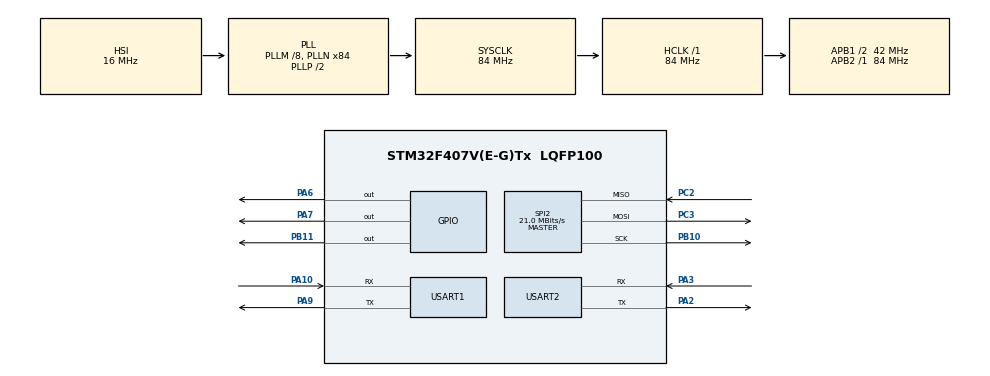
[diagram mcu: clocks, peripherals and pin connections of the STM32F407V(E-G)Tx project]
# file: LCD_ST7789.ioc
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Dma.Request0=SPI2_TX
Dma.SPI2_TX.0.Direction=DMA_MEMORY_TO_PERIPH
Dma.SPI2_TX.0.FIFOMode=DMA_FIFOMODE_DISABLE
Dma.SPI2_TX.0.Instance=DMA1_Stream4
Dma.SPI2_TX.0.MemDataAlignment=DMA_MDATAALIGN_BYTE
Dma.SPI2_TX.0.MemInc=DMA_MINC_ENABLE
Dma.SPI2_TX.0.Mode=DMA_NORMAL
Dma.SPI2_TX.0.PeriphDataAlignment=DMA_PDATAALIGN_BYTE
Dma.SPI2_TX.0.PeriphInc=DMA_PINC_DISABLE
Dma.SPI2_TX.0.Priority=DMA_PRIORITY_LOW
FREERTOS.Tasks01=blinkLEDTask,0,128,StartBlinkTask,Default,NULL,Dynamic,NULL,NULL;lvglTask,0,1024,StartLVGLTask,Default,NULL,Dynamic,NULL,NULL
Mcu.Family=STM32F4
Mcu.Name=STM32F407V(E-G)Tx
Mcu.Package=LQFP100
NVIC.DMA1_Stream4_IRQn=true\:5\:0\:false\:false\:true\:true\:false\:true
NVIC.PriorityGroup=NVIC_PRIORITYGROUP_4
NVIC.TIM7_IRQn=true\:0\:0\:false\:false\:true\:false\:false\:true
NVIC.TimeBase=TIM7_IRQn
NVIC.TimeBaseIP=TIM7
PA10.Mode=Asynchronous
PA10.Signal=USART1_RX
PA13.Mode=Serial_Wire
PA13.Signal=SYS_JTMS-SWDIO
PA14.Mode=Serial_Wire
PA14.Signal=SYS_JTCK-SWCLK
PA2.Mode=Asynchronous
PA2.Signal=USART2_TX
PA3.Mode=Asynchronous
PA3.Signal=USART2_RX
PA6.Signal=GPIO_Output
PA7.Signal=GPIO_Output
PA9.Mode=Asynchronous
PA9.Signal=USART1_TX
PB10.Mode=Full_Duplex_Master
PB10.Signal=SPI2_SCK
PB11.Signal=GPIO_Output
PC14-OSC32_IN.Mode=LSE-External-Oscillator
PC14-OSC32_IN.Signal=RCC_OSC32_IN
PC15-OSC32_OUT.Mode=LSE-External-Oscillator
PC15-OSC32_OUT.Signal=RCC_OSC32_OUT
PC2.Mode=Full_Duplex_Master
PC2.Signal=SPI2_MISO
PC3.Mode=Full_Duplex_Master
PC3.Signal=SPI2_MOSI
PH0-OSC_IN.Mode=HSE-External-Oscillator
PH0-OSC_IN.Signal=RCC_OSC_IN
PH1-OSC_OUT.Mode=HSE-External-Oscillator
PH1-OSC_OUT.Signal=RCC_OSC_OUT
ProjectManager.HeapSize=0x200
ProjectManager.StackSize=0x400
ProjectManager.TargetToolchain=STM32CubeIDE
RCC.48MHZClocksFreq_Value=42000000
RCC.AHBFreq_Value=84000000
RCC.APB1CLKDivider=RCC_HCLK_DIV2
RCC.APB1Freq_Value=42000000
RCC.APB1TimFreq_Value=84000000
RCC.APB2Freq_Value=84000000
RCC.APB2TimFreq_Value=84000000
RCC.CortexFreq_Value=84000000
RCC.HCLKFreq_Value=84000000
RCC.HSE_VALUE=25000000
RCC.HSI_VALUE=16000000
RCC.PLLM=8
RCC.PLLN=84
RCC.RCC_RTC_Clock_Source=RCC_RTCCLKSOURCE_LSE
RCC.RCC_RTC_Clock_SourceVirtual=RCC_RTCCLKSOURCE_LSE
RCC.SYSCLKFreq_VALUE=84000000
RCC.SYSCLKSource=RCC_SYSCLKSOURCE_PLLCLK
RCC.VCOOutputFreq_Value=168000000
SPI2.BaudRatePrescaler=SPI_BAUDRATEPRESCALER_2
SPI2.CLKPhase=SPI_PHASE_2EDGE
SPI2.CLKPolarity=SPI_POLARITY_HIGH
SPI2.CalculateBaudRate=21.0 MBits/s
SPI2.Direction=SPI_DIRECTION_2LINES
SPI2.Mode=SPI_MODE_MASTER
SPI2.VirtualType=VM_MASTER
USART1.VirtualMode=VM_ASYNC
USART2.VirtualMode=VM_ASYNC
VP_FREERTOS_VS_CMSIS_V1.Mode=CMSIS_V1
VP_RTC_VS_RTC_Activate.Mode=RTC_Enabled
VP_SYS_VS_tim7.Mode=TIM7
board=custom

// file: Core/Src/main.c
/* USER CODE BEGIN Header */
/**
  ******************************************************************************
  * @file           : main.c
  * @brief          : Main program body
  ******************************************************************************
  * @attention
  *
  * <h2><center>&copy; Copyright (c) 2025 STMicroelectronics.
  * All rights reserved.</center></h2>
  *
  * This software component is licensed by ST under BSD 3-Clause license,
  * the "License"; You may not use this file except in compliance with the
  * License. You may obtain a copy of the License at:
  *                        opensource.org/licenses/BSD-3-Clause
  *
  ******************************************************************************
  */
/* USER CODE END Header */
#include "main.h"
#include "cmsis_os.h"

/* USER CODE BEGIN Includes */

#include "stdio.h"
#include "stdlib.h"  // Thêm cho malloc/free

// Include LVGL examples
#include "examples/lv_examples.h"
#include "home_display.h"
#include "log.h"
#include "wifi_esp8266.h"  // Re-enabled for WiFi testing

// Function prototypes - Khai báo hàm
void wifi_test_demo(void);  // Re-enabled for WiFi testing
void log_test_only(void);
/* USER CODE END Includes */

RTC_HandleTypeDef hrtc;

SPI_HandleTypeDef hspi2;
DMA_HandleTypeDef hdma_spi2_tx;

UART_HandleTypeDef huart1;
UART_HandleTypeDef huart2;

osThreadId blinkLEDTaskHandle;
osThreadId lvglTaskHandle;

void SystemClock_Config(void);
static void MX_GPIO_Init(void);
static void MX_DMA_Init(void);
static void MX_SPI2_Init(void);
static void MX_RTC_Init(void);
static void MX_USART1_UART_Init(void);
static void MX_USART2_UART_Init(void);
void StartBlinkTask(void const * argument);
void StartLVGLTask(void const * argument);

/* USER CODE BEGIN 0 */

// LVGL display buffer - DOUBLE BUFFERING implementation
static lv_disp_draw_buf_t draw_buf;
static lv_color_t buf1[240 * 60];  // Buffer 1 = 19.2KB RAM
static lv_color_t buf2[240 * 60];  // Buffer 2 = 19.2KB RAM (Total: 38.4KB)

// Counter để đếm số lần flush được g�?i
static uint32_t flush_count = 0;
static uint8_t current_buffer = 1;  // Track buffer hiện tại (1 hoặc 2)

// DMA transfer completed flag
static volatile uint8_t dma_transfer_complete = 1;

// DMA TX Complete Callback
void HAL_SPI_TxCpltCallback(SPI_HandleTypeDef *hspi)
{
    if(hspi->Instance == SPI2) {
        dma_transfer_complete = 1;
    }
}

// LVGL flush callback function - CONDITIONAL DMA/BLOCKING
void my_disp_flush(lv_disp_drv_t * disp_drv, const lv_area_t * area, lv_color_t * color_p)
{
    // Tính toán kích thước area
    int32_t width = area->x2 - area->x1 + 1;
    int32_t height = area->y2 - area->y1 + 1;

    // Cast LVGL color buffer v�? uint16_t cho ST7789
    uint16_t * pixel_data = (uint16_t *)color_p;
#if DMA_MODULE_USED
    // Wait for previous DMA transfer to complete
    while(!dma_transfer_complete) {
        osDelay(1);
    }

    // Start DMA transfer - NON-BLOCKING
    dma_transfer_complete = 0;
#endif
    ST7789_DrawImage(area->x1, area->y1, width, height, pixel_data);

    // Báo cho LVGL biết đã flush xong
    lv_disp_flush_ready(disp_drv);
}
/* USER CODE END 0 */

int main(void)
{

  /* MCU Configuration--------------------------------------------------------*/

  /* Reset of all peripherals, Initializes the Flash interface and the Systick. */
  HAL_Init();

  /* Configure the system clock */
  SystemClock_Config();

  /* Initialize all configured peripherals */
  MX_GPIO_Init();
  MX_DMA_Init();
  MX_SPI2_Init();
  MX_RTC_Init();
  MX_USART1_UART_Init();
  MX_USART2_UART_Init();
  /* USER CODE BEGIN 2 */
  log_init();

  // Simple log test without WiFi
  log_test_only();

  wifi_test_demo(); // Re-enabled for WiFi testing
	// ST7789 display initialization procedure
	ST7789_Init();
	// Setting the display rotation
	ST7789_rotation( 1 );
  /* USER CODE END 2 */

  /* Create the thread(s) */
  /* definition and creation of blinkLEDTask */
  osThreadDef(blinkLEDTask, StartBlinkTask, osPriorityNormal, 0, 128);
  blinkLEDTaskHandle = osThreadCreate(osThread(blinkLEDTask), NULL);

  /* definition and creation of lvglTask */
  osThreadDef(lvglTask, StartLVGLTask, osPriorityNormal, 0, 1024);
  lvglTaskHandle = osThreadCreate(osThread(lvglTask), NULL);

  /* Start scheduler */
  osKernelStart();

  /* We should never get here as control is now taken by the scheduler */
  /* Infinite loop */
  while (1)
  {

  }
}

void SystemClock_Config(void)
{
  RCC_OscInitTypeDef RCC_OscInitStruct = {0};
  RCC_ClkInitTypeDef RCC_ClkInitStruct = {0};
  RCC_PeriphCLKInitTypeDef PeriphClkInitStruct = {0};

  /** Configure the main internal regulator output voltage
  */
  __HAL_RCC_PWR_CLK_ENABLE();
  __HAL_PWR_VOLTAGESCALING_CONFIG(PWR_REGULATOR_VOLTAGE_SCALE1);
  /** Initializes the RCC Oscillators according to the specified parameters
  * in the RCC_OscInitTypeDef structure.
  */
  RCC_OscInitStruct.OscillatorType = RCC_OSCILLATORTYPE_HSI|RCC_OSCILLATORTYPE_LSE;
  RCC_OscInitStruct.LSEState = RCC_LSE_ON;
  RCC_OscInitStruct.HSIState = RCC_HSI_ON;
  RCC_OscInitStruct.HSICalibrationValue = RCC_HSICALIBRATION_DEFAULT;
  RCC_OscInitStruct.PLL.PLLState = RCC_PLL_ON;
  RCC_OscInitStruct.PLL.PLLSource = RCC_PLLSOURCE_HSI;
  RCC_OscInitStruct.PLL.PLLM = 8;
  RCC_OscInitStruct.PLL.PLLN = 84;
  RCC_OscInitStruct.PLL.PLLP = RCC_PLLP_DIV2;
  RCC_OscInitStruct.PLL.PLLQ = 4;
  if (HAL_RCC_OscConfig(&RCC_OscInitStruct) != HAL_OK)
  {
    Error_Handler();
  }
  /** Initializes the CPU, AHB and APB buses clocks
  */
  RCC_ClkInitStruct.ClockType = RCC_CLOCKTYPE_HCLK|RCC_CLOCKTYPE_SYSCLK
                              |RCC_CLOCKTYPE_PCLK1|RCC_CLOCKTYPE_PCLK2;
  RCC_ClkInitStruct.SYSCLKSource = RCC_SYSCLKSOURCE_PLLCLK;
  RCC_ClkInitStruct.AHBCLKDivider = RCC_SYSCLK_DIV1;
  RCC_ClkInitStruct.APB1CLKDivider = RCC_HCLK_DIV2;
  RCC_ClkInitStruct.APB2CLKDivider = RCC_HCLK_DIV1;

  if (HAL_RCC_ClockConfig(&RCC_ClkInitStruct, FLASH_LATENCY_2) != HAL_OK)
  {
    Error_Handler();
  }
  PeriphClkInitStruct.PeriphClockSelection = RCC_PERIPHCLK_RTC;
  PeriphClkInitStruct.RTCClockSelection = RCC_RTCCLKSOURCE_LSE;
  if (HAL_RCCEx_PeriphCLKConfig(&PeriphClkInitStruct) != HAL_OK)
  {
    Error_Handler();
  }
}

static void MX_RTC_Init(void)
{

  /** Initialize RTC Only
  */
  hrtc.Instance = RTC;
  hrtc.Init.HourFormat = RTC_HOURFORMAT_24;
  hrtc.Init.AsynchPrediv = 127;
  hrtc.Init.SynchPrediv = 255;
  hrtc.Init.OutPut = RTC_OUTPUT_DISABLE;
  hrtc.Init.OutPutPolarity = RTC_OUTPUT_POLARITY_HIGH;
  hrtc.Init.OutPutType = RTC_OUTPUT_TYPE_OPENDRAIN;
  if (HAL_RTC_Init(&hrtc) != HAL_OK)
  {
    Error_Handler();
  }

}

static void MX_SPI2_Init(void)
{

  /* SPI2 parameter configuration*/
  hspi2.Instance = SPI2;
  hspi2.Init.Mode = SPI_MODE_MASTER;
  hspi2.Init.Direction = SPI_DIRECTION_2LINES;
  hspi2.Init.DataSize = SPI_DATASIZE_8BIT;
  hspi2.Init.CLKPolarity = SPI_POLARITY_HIGH;
  hspi2.Init.CLKPhase = SPI_PHASE_2EDGE;
  hspi2.Init.NSS = SPI_NSS_SOFT;
  hspi2.Init.BaudRatePrescaler = SPI_BAUDRATEPRESCALER_2;
  hspi2.Init.FirstBit = SPI_FIRSTBIT_MSB;
  hspi2.Init.TIMode = SPI_TIMODE_DISABLE;
  hspi2.Init.CRCCalculation = SPI_CRCCALCULATION_DISABLE;
  hspi2.Init.CRCPolynomial = 10;
  if (HAL_SPI_Init(&hspi2) != HAL_OK)
  {
    Error_Handler();
  }

}

static void MX_USART1_UART_Init(void)
{

  huart1.Instance = USART1;
  huart1.Init.BaudRate = 115200;
  huart1.Init.WordLength = UART_WORDLENGTH_8B;
  huart1.Init.StopBits = UART_STOPBITS_1;
  huart1.Init.Parity = UART_PARITY_NONE;
  huart1.Init.Mode = UART_MODE_TX_RX;
  huart1.Init.HwFlowCtl = UART_HWCONTROL_NONE;
  huart1.Init.OverSampling = UART_OVERSAMPLING_16;
  if (HAL_UART_Init(&huart1) != HAL_OK)
  {
    Error_Handler();
  }

}

static void MX_USART2_UART_Init(void)
{

  huart2.Instance = USART2;
  huart2.Init.BaudRate = 115200;
  huart2.Init.WordLength = UART_WORDLENGTH_8B;
  huart2.Init.StopBits = UART_STOPBITS_1;
  huart2.Init.Parity = UART_PARITY_NONE;
  huart2.Init.Mode = UART_MODE_TX_RX;
  huart2.Init.HwFlowCtl = UART_HWCONTROL_NONE;
  huart2.Init.OverSampling = UART_OVERSAMPLING_16;
  if (HAL_UART_Init(&huart2) != HAL_OK)
  {
    Error_Handler();
  }

}

static void MX_DMA_Init(void)
{

  /* DMA controller clock enable */
  __HAL_RCC_DMA1_CLK_ENABLE();

  /* DMA interrupt init */
  /* DMA1_Stream4_IRQn interrupt configuration */
  HAL_NVIC_SetPriority(DMA1_Stream4_IRQn, 5, 0);
  HAL_NVIC_EnableIRQ(DMA1_Stream4_IRQn);

}

static void MX_GPIO_Init(void)
{
  GPIO_InitTypeDef GPIO_InitStruct = {0};

  /* GPIO Ports Clock Enable */
  __HAL_RCC_GPIOC_CLK_ENABLE();
  __HAL_RCC_GPIOH_CLK_ENABLE();
  __HAL_RCC_GPIOA_CLK_ENABLE();
  __HAL_RCC_GPIOB_CLK_ENABLE();

  /*Configure GPIO pin Output Level */
  HAL_GPIO_WritePin(GPIOA, GPIO_PIN_6|GPIO_PIN_7, GPIO_PIN_RESET);

  /*Configure GPIO pin Output Level */
  HAL_GPIO_WritePin(GPIOB, GPIO_PIN_11, GPIO_PIN_RESET);

  /*Configure GPIO pins : PA6 PA7 */
  GPIO_InitStruct.Pin = GPIO_PIN_6|GPIO_PIN_7;
  GPIO_InitStruct.Mode = GPIO_MODE_OUTPUT_PP;
  GPIO_InitStruct.Pull = GPIO_NOPULL;
  GPIO_InitStruct.Speed = GPIO_SPEED_FREQ_LOW;
  HAL_GPIO_Init(GPIOA, &GPIO_InitStruct);

  /*Configure GPIO pin : PB11 */
  GPIO_InitStruct.Pin = GPIO_PIN_11;
  GPIO_InitStruct.Mode = GPIO_MODE_OUTPUT_PP;
  GPIO_InitStruct.Pull = GPIO_NOPULL;
  GPIO_InitStruct.Speed = GPIO_SPEED_FREQ_LOW;
  HAL_GPIO_Init(GPIOB, &GPIO_InitStruct);

}

/* USER CODE BEGIN 4 */

/**
 * @brief Simple log test function - Test log đơn giản
 */
void log_test_only(void)
{
    // First test manual debug assembly
    log_debug_message_assembly();
    HAL_Delay(200);

    // Then test normal logging with simple messages
    LOG_I("MAIN", "Simple test");
    HAL_Delay(100);

    LOG_I("MAIN", "Test 123");
    HAL_Delay(100);

    // Test the enhanced test function
    log_test_messages();
}

/* USER CODE END 4 */

void StartBlinkTask(void const * argument)
{
  /* USER CODE BEGIN 5 */
  /* Infinite loop */
  for(;;)
  {
//    HAL_GPIO_TogglePin(GPIOA, GPIO_PIN_15); // Enable LED debug
    osDelay(500);
  }
  /* USER CODE END 5 */
}

void StartLVGLTask(void const * argument)
{
  /* USER CODE BEGIN StartLVGLTask */

  // Bước 1: Init LVGL
  lv_init();

  // Bước 2: Init display driver với DOUBLE BUFFERING
  // buf1 = working buffer, buf2 = back buffer
  lv_disp_draw_buf_init(&draw_buf, buf1, buf2, 240 * 60);

  // Bước 3: Init display driver
  static lv_disp_drv_t disp_drv;
  lv_disp_drv_init(&disp_drv);         // Khởi tạo với default values
  disp_drv.hor_res = 240;              // �?ộ phân giải ngang
  disp_drv.ver_res = 240;              // �?ộ phân giải d�?c
  disp_drv.flush_cb = my_disp_flush;   // Callback để vẽ lên LCD
  disp_drv.draw_buf = &draw_buf;       // Gán buffer đã tạo
  lv_disp_drv_register(&disp_drv);     // �?ăng ký driver với LVGL

  // Initialize default theme
  lv_theme_t * theme = lv_theme_default_init(
      lv_disp_get_default(),           // Display mặc định
      lv_palette_main(LV_PALETTE_BLUE), // Primary color
      lv_palette_main(LV_PALETTE_RED),  // Secondary color
      LV_THEME_DEFAULT_DARK,           // Dark/Light mode
      LV_FONT_DEFAULT                  // Font mặc định
  );
  lv_disp_set_theme(lv_disp_get_default(), theme);

  // Initialize input handler first - Khởi tạo xử lý đầu vào trước
  input_handler_init();
  // Create iPhone-like home screen
  create_home_screen();

  /* Infinite loop */
  for(;;)
  {
    // Chạy LVGL timer handler
    lv_timer_handler();
    osDelay(10);  // 50ms cho animation mượt
  }
  /* USER CODE END StartLVGLTask */
}

 /**
  * @brief  Period elapsed callback in non blocking mode
  * @note   This function is called  when TIM7 interrupt took place, inside
  * HAL_TIM_IRQHandler(). It makes a direct call to HAL_IncTick() to increment
  * a global variable "uwTick" used as application time base.
  * @param  htim : TIM handle
  * @retval None
  */
void HAL_TIM_PeriodElapsedCallback(TIM_HandleTypeDef *htim)
{
  if (htim->Instance == TIM7) {
    HAL_IncTick();
  }
}

void Error_Handler(void)
{
  __disable_irq();
  while (1)
  {
  }
}

/************************ (C) COPYRIGHT STMicroelectronics *****END OF FILE****/
